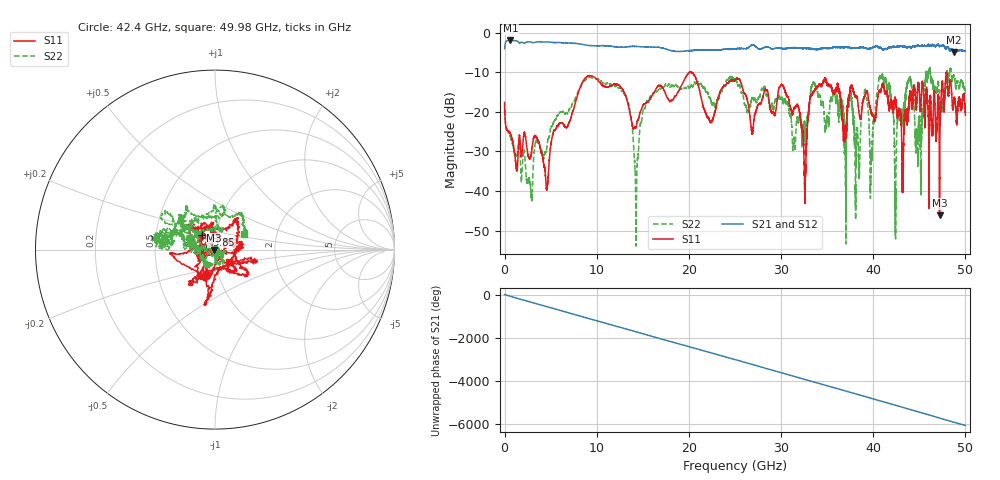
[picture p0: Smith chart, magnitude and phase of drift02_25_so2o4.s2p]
!Created with skrf (http://scikit-rf.org).
# Hz S RI R 50.0
!freq ReS11 ImS11 ReS21 ImS21 ReS12 ImS12 ReS22 ImS22
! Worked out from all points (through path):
!   10001 points, 300 kHz to 50 GHz, reference 50 ohm
!   highest |S21| = -1.99 dB at 630.3 MHz (marker M1); lowest = -4.9 dB at 48.77 GHz (marker M2)
!   group delay of S21, straight-line fit = 337 ps
!   lowest |S11| = -46.1 dB at 47.2 GHz (marker M3), VSWR 1.01, Z = 49.5 - j0.168 ohm
!   |S11| at or under -10 dB: start of sweep to 20.06 GHz; 20.20704 GHz to 20.22125 GHz (14.2 MHz wide, 0.0703 % of centre); 20.24 GHz to end of sweep (the widest 3 of 4)
!   |S22| runs from -53.9 to -8.8 dB; largest |S21 - S12| = 0.03
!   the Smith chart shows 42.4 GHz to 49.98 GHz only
!   S11 on the Smith chart (normalised r, x): 42.4 GHz: 0.87, -0.26; 43.85 GHz: 0.86, +0.15; 49.98 GHz: 1.16, -0.16
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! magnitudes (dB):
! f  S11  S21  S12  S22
! 300 kHz  -17.8  -4.0  -4.0  -17.4
! 630.3 MHz  -25.6  -2.0  -2.0  -26.4
! 4.565 GHz  -39.8  -2.4  -2.4  -29.4
! 8.335 GHz  -13.0  -2.9  -2.9  -13.2
! 13.01 GHz  -15.3  -3.7  -3.7  -15.6
! 14.28 GHz  -23.8  -3.5  -3.5  -49.3
! 16.67 GHz  -13.4  -3.7  -3.7  -14.5
! 25 GHz  -12.0  -4.1  -4.1  -12.1
! 30.18 GHz  -13.3  -4.1  -4.1  -16.7
! 32.56 GHz  -39.6  -3.9  -3.9  -24.4
! 33.34 GHz  -15.9  -4.1  -4.1  -13.6
! 37.5 GHz  -14.3  -3.9  -3.8  -16.3
! 38.29 GHz  -16.8  -3.9  -3.9  -24.3
! 41.67 GHz  -18.5  -3.8  -3.9  -12.9
! 42.4 GHz  -16.4  -3.6  -3.6  -51.1
! 43.85 GHz  -19.1  -3.5  -3.6  -12.1
! 44.99 GHz  -14.6  -3.4  -3.3  -21.1
! 45.91 GHz  -18.0  -3.2  -3.1  -10.8
! 47.2 GHz  -46.1  -3.5  -3.5  -17.3
! 48.77 GHz  -17.0  -4.9  -4.8  -10.9
! 49.98 GHz  -19.8  -4.6  -4.6  -14.6
! 50 GHz  -20.9  -4.7  -4.6  -15.1
